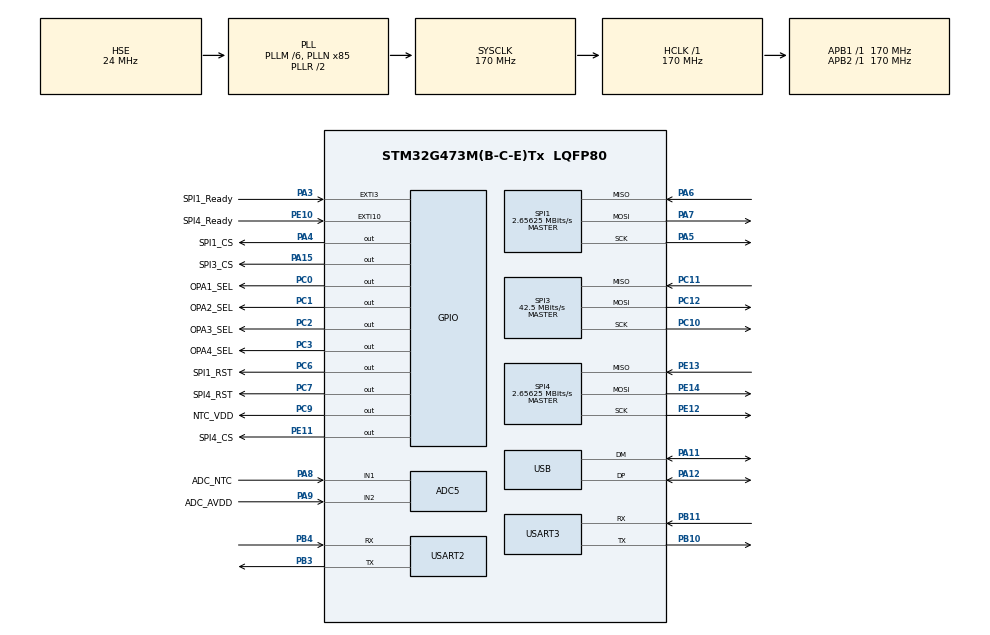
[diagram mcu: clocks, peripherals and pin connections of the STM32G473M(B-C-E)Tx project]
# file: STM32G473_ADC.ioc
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ADC5.Channel-0\#ChannelRegularConversion=ADC_CHANNEL_1
ADC5.Channel-1\#ChannelRegularConversion=ADC_CHANNEL_2
ADC5.NbrOfConversionFlag=2
ADC5.OffsetNumber-0\#ChannelRegularConversion=ADC_OFFSET_NONE
ADC5.OffsetNumber-1\#ChannelRegularConversion=ADC_OFFSET_NONE
ADC5.Rank-0\#ChannelRegularConversion=1
ADC5.Rank-1\#ChannelRegularConversion=2
ADC5.SamplingTime-0\#ChannelRegularConversion=ADC_SAMPLETIME_47CYCLES_5
ADC5.SamplingTime-1\#ChannelRegularConversion=ADC_SAMPLETIME_47CYCLES_5
Mcu.Family=STM32G4
Mcu.Name=STM32G473M(B-C-E)Tx
Mcu.Package=LQFP80
NVIC.EXTI15_10_IRQn=true\:0\:0\:false\:false\:true\:true\:true\:true
NVIC.EXTI3_IRQn=true\:0\:0\:false\:false\:true\:true\:true\:true
NVIC.PriorityGroup=NVIC_PRIORITYGROUP_4
NVIC.TIM1_UP_TIM16_IRQn=true\:5\:0\:true\:false\:true\:true\:true\:true
NVIC.USB_LP_IRQn=true\:0\:0\:false\:false\:true\:false\:true\:true
PA11.Mode=Device
PA11.Signal=USB_DM
PA12.Mode=Device
PA12.Signal=USB_DP
PA13.Mode=Serial_Wire
PA13.Signal=SYS_JTMS-SWDIO
PA14.Mode=Serial_Wire
PA14.Signal=SYS_JTCK-SWCLK
PA15.GPIO_Label=SPI3_CS
PA15.PinState=GPIO_PIN_SET
PA15.Signal=GPIO_Output
PA3.GPIO_Label=SPI1_Ready
PA3.GPIO_ModeDefaultEXTI=GPIO_MODE_IT_FALLING
PA3.GPIO_PuPd=GPIO_PULLUP
PA3.Signal=GPXTI3
PA4.GPIO_Label=SPI1_CS
PA4.PinState=GPIO_PIN_SET
PA4.Signal=GPIO_Output
PA5.GPIO_Speed=GPIO_SPEED_FREQ_HIGH
PA5.Mode=Full_Duplex_Master
PA5.Signal=SPI1_SCK
PA6.GPIO_Speed=GPIO_SPEED_FREQ_HIGH
PA6.Mode=Full_Duplex_Master
PA6.Signal=SPI1_MISO
PA7.GPIO_Speed=GPIO_SPEED_FREQ_HIGH
PA7.Mode=Full_Duplex_Master
PA7.Signal=SPI1_MOSI
PA8.GPIO_Label=ADC_NTC
PA8.Mode=IN1-Single-Ended
PA8.Signal=ADC5_IN1
PA9.GPIO_Label=ADC_AVDD
PA9.Mode=IN2-Single-Ended
PA9.Signal=ADC5_IN2
PB10.Mode=Asynchronous
PB10.Signal=USART3_TX
PB11.Mode=Asynchronous
PB11.Signal=USART3_RX
PB3.Mode=Asynchronous
PB3.Signal=USART2_TX
PB4.Mode=Asynchronous
PB4.Signal=USART2_RX
PC0.GPIO_Label=OPA1_SEL
PC0.Signal=GPIO_Output
PC1.GPIO_Label=OPA2_SEL
PC1.Signal=GPIO_Output
PC10.Mode=Full_Duplex_Master
PC10.Signal=SPI3_SCK
PC11.Mode=Full_Duplex_Master
PC11.Signal=SPI3_MISO
PC12.Mode=Full_Duplex_Master
PC12.Signal=SPI3_MOSI
PC14-OSC32_IN.Mode=LSE-External-Oscillator
PC14-OSC32_IN.Signal=RCC_OSC32_IN
PC15-OSC32_OUT.Mode=LSE-External-Oscillator
PC15-OSC32_OUT.Signal=RCC_OSC32_OUT
PC2.GPIO_Label=OPA3_SEL
PC2.Signal=GPIO_Output
PC3.GPIO_Label=OPA4_SEL
PC3.Signal=GPIO_Output
PC6.GPIO_Label=SPI1_RST
PC6.Signal=GPIO_Output
PC7.GPIO_Label=SPI4_RST
PC7.Signal=GPIO_Output
PC9.GPIO_Label=NTC_VDD
PC9.Signal=GPIO_Output
PE10.GPIO_Label=SPI4_Ready
PE10.GPIO_ModeDefaultEXTI=GPIO_MODE_IT_FALLING
PE10.GPIO_PuPd=GPIO_PULLUP
PE10.Signal=GPXTI10
PE11.GPIO_Label=SPI4_CS
PE11.PinState=GPIO_PIN_SET
PE11.Signal=GPIO_Output
PE12.GPIO_Speed=GPIO_SPEED_FREQ_HIGH
PE12.Mode=Full_Duplex_Master
PE12.Signal=SPI4_SCK
PE13.GPIO_Speed=GPIO_SPEED_FREQ_HIGH
PE13.Mode=Full_Duplex_Master
PE13.Signal=SPI4_MISO
PE14.GPIO_Speed=GPIO_SPEED_FREQ_HIGH
PE14.Mode=Full_Duplex_Master
PE14.Signal=SPI4_MOSI
PF0-OSC_IN.Mode=HSE-External-Oscillator
PF0-OSC_IN.Signal=RCC_OSC_IN
PF1-OSC_OUT.Mode=HSE-External-Oscillator
PF1-OSC_OUT.Signal=RCC_OSC_OUT
ProjectManager.HeapSize=0x200
ProjectManager.StackSize=0x400
ProjectManager.TargetToolchain=Makefile
RCC.ADC12CLockSelection=RCC_ADC12CLKSOURCE_PLL
RCC.ADC12Freq_Value=170000000
RCC.ADC345Freq_Value=170000000
RCC.AHBFreq_Value=170000000
RCC.APB1Freq_Value=170000000
RCC.APB1TimFreq_Value=170000000
RCC.APB2Freq_Value=170000000
RCC.APB2TimFreq_Value=170000000
RCC.CK48CLockSelection=RCC_USBCLKSOURCE_HSI48
RCC.CortexFreq_Value=170000000
RCC.EXTERNAL_CLOCK_VALUE=12288000
RCC.HCLKFreq_Value=170000000
RCC.HSE_VALUE=24000000
RCC.HSI48_VALUE=48000000
RCC.HSI_VALUE=16000000
RCC.PLLM=RCC_PLLM_DIV6
RCC.PLLN=85
RCC.PLLQ=RCC_PLLQ_DIV4
RCC.PLLSourceVirtual=RCC_PLLSOURCE_HSE
RCC.RTCClockSelection=RCC_RTCCLKSOURCE_LSE
RCC.SYSCLKFreq_VALUE=170000000
RCC.SYSCLKSource=RCC_SYSCLKSOURCE_PLLCLK
RCC.USBFreq_Value=48000000
RCC.VCOOutputFreq_Value=340000000
SPI1.BaudRatePrescaler=SPI_BAUDRATEPRESCALER_64
SPI1.CLKPhase=SPI_PHASE_2EDGE
SPI1.CalculateBaudRate=2.65625 MBits/s
SPI1.DataSize=SPI_DATASIZE_8BIT
SPI1.Direction=SPI_DIRECTION_2LINES
SPI1.Mode=SPI_MODE_MASTER
SPI1.VirtualType=VM_MASTER
SPI3.BaudRatePrescaler=SPI_BAUDRATEPRESCALER_4
SPI3.CalculateBaudRate=42.5 MBits/s
SPI3.DataSize=SPI_DATASIZE_8BIT
SPI3.Direction=SPI_DIRECTION_2LINES
SPI3.Mode=SPI_MODE_MASTER
SPI3.NSS=SPI_NSS_SOFT
SPI3.NSSPMode=SPI_NSS_PULSE_DISABLE
SPI3.VirtualType=VM_MASTER
SPI4.BaudRatePrescaler=SPI_BAUDRATEPRESCALER_64
SPI4.CLKPhase=SPI_PHASE_2EDGE
SPI4.CalculateBaudRate=2.65625 MBits/s
SPI4.DataSize=SPI_DATASIZE_8BIT
SPI4.Direction=SPI_DIRECTION_2LINES
SPI4.Mode=SPI_MODE_MASTER
SPI4.VirtualType=VM_MASTER
TIM1.PeriodNoDither=1000-1
TIM1.Prescaler=170-1
USART2.VirtualMode-Asynchronous=VM_ASYNC
USART3.VirtualMode-Asynchronous=VM_ASYNC
USB_DEVICE.CLASS_NAME_FS=CDC
USB_DEVICE.VirtualMode=Cdc
USB_DEVICE.VirtualModeFS=Cdc_FS
VP_RTC_VS_RTC_Activate.Mode=RTC_Enabled
VP_SYS_VS_DBSignals.Mode=DisableDeadBatterySignals
VP_SYS_V_VREFBUF.Mode=ExternalMode
VP_TIM1_VS_ClockSourceINT.Mode=Internal
VP_USB_DEVICE_VS_USB_DEVICE_CDC_FS.Mode=CDC_FS
board=custom

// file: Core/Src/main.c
/* USER CODE BEGIN Header */
/**
 ******************************************************************************
 * @file           : main.c
 * @brief          : Main program body
 ******************************************************************************
 * @attention
 *
 * Copyright (c) 2026 STMicroelectronics.
 * All rights reserved.
 *
 * This software is licensed under terms that can be found in the LICENSE file
 * in the root directory of this software component.
 * If no LICENSE file comes with this software, it is provided AS-IS.
 *
 ******************************************************************************
 */
/* USER CODE END Header */
#include "main.h"
#include "adc.h"
#include "rtc.h"
#include "spi.h"
#include "tim.h"
#include "usart.h"
#include "usb_device.h"
#include "gpio.h"

/* USER CODE BEGIN Includes */
#include "ads131.h"
#include "usbd_cdc_if.h"
#include "ntc.h"
#include "vofa_transport.h"
#include <string.h>
/* USER CODE END Includes */

void SystemClock_Config(void);

int main(void)
{

    /* MCU Configuration--------------------------------------------------------*/

    /* Reset of all peripherals, Initializes the Flash interface and the Systick. */
    HAL_Init();

    /* Configure the system clock */
    SystemClock_Config();

    /* Initialize all configured peripherals */
    MX_GPIO_Init();
    MX_USART2_UART_Init();
    MX_ADC5_Init();
    MX_SPI3_Init();
    MX_USART3_UART_Init();
    MX_RTC_Init();
    MX_SPI1_Init();
    MX_SPI4_Init();
    MX_TIM1_Init();
    MX_USB_Device_Init();
    /* USER CODE BEGIN 2 */
    ADS131_Init(ADS_INDEX_1);
    ADS131_Init(ADS_INDEX_2);
    NTC_Init(); // PC9 高电平给 NTC 分压网络供电

    /* USER CODE END 2 */

    /* Infinite loop */
    /* USER CODE BEGIN WHILE */
    float vofa_channels[16];
    uint32_t ntc_task_tick = 0; // NTC 100ms 周期任务节拍
#if (ADS131_SAMPLE_MODE == ADS131_SAMPLE_SW_TRIGGER)
    uint32_t trigger_tick  = 0; // ADS131 软件触发节拍
    // 软件触发模式:初始化后进入 STANDBY,等待主循环周期触发
    ADS131_EnterStandby(ADS_INDEX_1);
    ADS131_EnterStandby(ADS_INDEX_2);
    trigger_tick = HAL_GetTick();
#endif

    while (1) {
        // 100ms 周期任务:NTC 温度采样(PA8 NTC / PA9 DVDD 双通道 ADC)
        if (HAL_GetTick() - ntc_task_tick >= 100U) {
            ntc_task_tick = HAL_GetTick();
            NTC_PeriodicTask();
        }

#if (ADS131_SAMPLE_MODE == ADS131_SAMPLE_SW_TRIGGER)
        // 软件触发:按 ADS131_SW_TRIGGER_MS 周期 WAKEUP 一次,DRDY 中断负责读取
        if (HAL_GetTick() - trigger_tick >= ADS131_SW_TRIGGER_MS) {
            trigger_tick = HAL_GetTick();
            ADS131_SoftwareTrigger(ADS_INDEX_1);
            ADS131_SoftwareTrigger(ADS_INDEX_2);
        }
#endif

        // SPI complete (flag == 2): data ready to consume（电压已在中断内算好）
        if (g_ads1_ready_flag == 2) {
            if ((g_ads1_data.status & 0xFFU) == 0xFFU) { memcpy(&vofa_channels[0], (const void *)g_ads1_data.ch_voltage, 8 * sizeof(float)); }
            g_ads1_ready_flag = 0;
        }
        if (g_ads2_ready_flag == 2) {
            if ((g_ads2_data.status & 0xFFU) == 0xFFU) { memcpy(&vofa_channels[8], (const void *)g_ads2_data.ch_voltage, 8 * sizeof(float)); }
            g_ads2_ready_flag = 0;

            // 两片数据齐备,拼接 16 通道按 VOFA+ JustFloat 格式发送
            // 发送端口由 vofa_transport.h 的 VOFA_PORT_SELECT 宏选择:
            // VOFA_PORT_USB / VOFA_PORT_UART2 / VOFA_PORT_UART3 / VOFA_PORT_SPI3
            VOFA_SendFrame(vofa_channels, 16);

#if (ADS131_SAMPLE_MODE == ADS131_SAMPLE_SW_TRIGGER)
            // 软件触发模式：一次采样完成，回到 STANDBY 等待下次触发
            ADS131_EnterStandby(ADS_INDEX_1);
            ADS131_EnterStandby(ADS_INDEX_2);
#endif
        }

        HAL_Delay(1);
        /* USER CODE END WHILE */

    }
}

void SystemClock_Config(void)
{
    RCC_OscInitTypeDef RCC_OscInitStruct = {0};
    RCC_ClkInitTypeDef RCC_ClkInitStruct = {0};

    /** Configure the main internal regulator output voltage
     */
    HAL_PWREx_ControlVoltageScaling(PWR_REGULATOR_VOLTAGE_SCALE1_BOOST);

    /** Configure LSE Drive Capability
     */
    HAL_PWR_EnableBkUpAccess();
    __HAL_RCC_LSEDRIVE_CONFIG(RCC_LSEDRIVE_LOW);

    /** Initializes the RCC Oscillators according to the specified parameters
     * in the RCC_OscInitTypeDef structure.
     */
    RCC_OscInitStruct.OscillatorType = RCC_OSCILLATORTYPE_HSI48 | RCC_OSCILLATORTYPE_HSE | RCC_OSCILLATORTYPE_LSE;
    RCC_OscInitStruct.HSEState       = RCC_HSE_ON;
    RCC_OscInitStruct.LSEState       = RCC_LSE_ON;
    RCC_OscInitStruct.HSI48State     = RCC_HSI48_ON;
    RCC_OscInitStruct.PLL.PLLState   = RCC_PLL_ON;
    RCC_OscInitStruct.PLL.PLLSource  = RCC_PLLSOURCE_HSE;
    RCC_OscInitStruct.PLL.PLLM       = RCC_PLLM_DIV6;
    RCC_OscInitStruct.PLL.PLLN       = 85;
    RCC_OscInitStruct.PLL.PLLP       = RCC_PLLP_DIV2;
    RCC_OscInitStruct.PLL.PLLQ       = RCC_PLLQ_DIV4;
    RCC_OscInitStruct.PLL.PLLR       = RCC_PLLR_DIV2;
    if (HAL_RCC_OscConfig(&RCC_OscInitStruct) != HAL_OK) { Error_Handler(); }

    /** Initializes the CPU, AHB and APB buses clocks
     */
    RCC_ClkInitStruct.ClockType      = RCC_CLOCKTYPE_HCLK | RCC_CLOCKTYPE_SYSCLK | RCC_CLOCKTYPE_PCLK1 | RCC_CLOCKTYPE_PCLK2;
    RCC_ClkInitStruct.SYSCLKSource   = RCC_SYSCLKSOURCE_PLLCLK;
    RCC_ClkInitStruct.AHBCLKDivider  = RCC_SYSCLK_DIV1;
    RCC_ClkInitStruct.APB1CLKDivider = RCC_HCLK_DIV1;
    RCC_ClkInitStruct.APB2CLKDivider = RCC_HCLK_DIV1;

    if (HAL_RCC_ClockConfig(&RCC_ClkInitStruct, FLASH_LATENCY_4) != HAL_OK) { Error_Handler(); }
}

void Error_Handler(void)
{
    __disable_irq();
    while (1) {}
}
